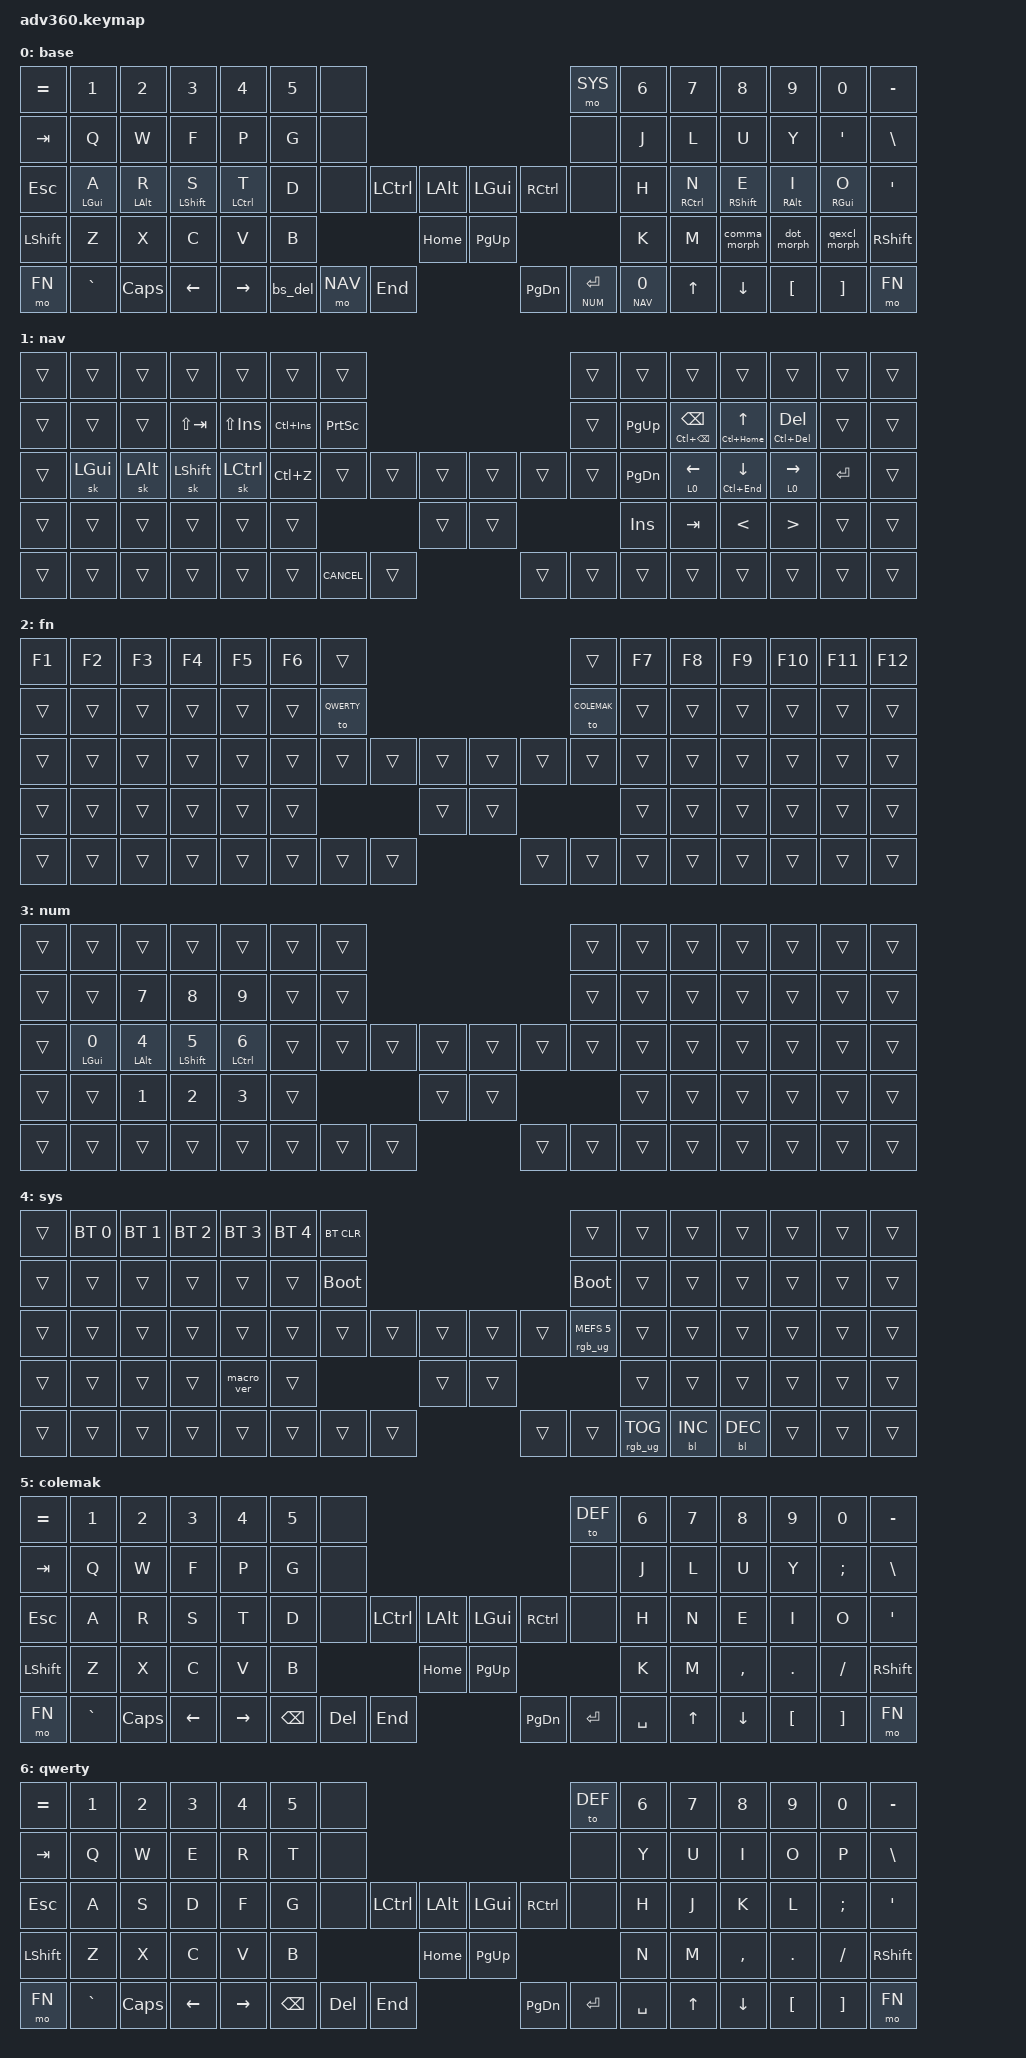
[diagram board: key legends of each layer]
#include <behaviors.dtsi>
#include <dt-bindings/zmk/keys.h>
#include <dt-bindings/zmk/bt.h>
#include <dt-bindings/zmk/rgb.h>
#include <dt-bindings/zmk/backlight.h>

#include "helper.h"

#define DEF 0
#define NAV 1
#define FN 2
#define NUM 3
#define SYS 4
#define COLEMAK 5
#define QWERTY 6

#include "keypos_adv360.h"
#include "combos.dtsi"

#define ___ &trans

#define QUICK_TAP_MS 175

/ {
    behaviors {
      #include "version.dtsi"
      #ifndef VERSION_MACRO
      macro_ver: macro_ver {
        compatible = "zmk,behavior-macro";
        label = "macro_version";
        #binding-cells = <0>;
        bindings = <&kp RET>;
      };
      #endif
  };
};

&sk {  // sticky-key config
    release-after-ms = <1800>;  // release after 1.8s
    quick-release;             // no double capitalization when rolling keys
};

&sl {  // sticky-layer config
    ignore-modifiers;          // allow chording sticky mods & layers
};

&lt {  // layer-tap config
    flavor = "balanced";
    tapping-term-ms = <200>;
    quick-tap-ms = <QUICK_TAP_MS>;
};

/* Homerow mods */

#define KEYS_L LN0 LN1 LN2 LN3 LN4 LN5 LT0 LT1 LT2 LT3 LT4 LT5 LM0 LM1 LM2 LM3 LM4 LM5 LB0 LB1 LB2 LB3 LB4 LB5
#define KEYS_R RN0 RN1 RN2 RN3 RN4 RN5 RT0 RT1 RT2 RT3 RT4 RT5 RM0 RM1 RM2 RM3 RM4 RM5 RB0 RB1 RB2 RB3 RB4 RB5
#define THUMBS LH0 LH1 LC0 LL0 LL1 LL2 RH0 RH1 RC0 RL0 RL1 RL2

#define MAKE_HRM(NAME, HOLD, TAP, TRIGGER_POS) \
    ZMK_HOLD_TAP(NAME, \
        flavor = "balanced"; \
        tapping-term-ms = <280>; \
        quick-tap-ms = <QUICK_TAP_MS>; \
        require-prior-idle-ms = <150>; \
        bindings = <HOLD>, <TAP>; \
        hold-trigger-key-positions = <TRIGGER_POS>; \
        hold-trigger-on-release; \
    )
MAKE_HRM(hml, &kp, &kp, KEYS_R THUMBS)  // left-hand HRMs
MAKE_HRM(hmr, &kp, &kp, KEYS_L THUMBS)  // right-hand HRMs

/* Nav cluster */

// long-tap action on hold, short-tap action on all interrupts
#define MT_CORE \
    flavor = "tap-preferred"; \
    tapping-term-ms = <220>; \
    quick-tap-ms = <220>; \
    hold-trigger-key-positions = <0>;

&mt { MT_CORE };
ZMK_HOLD_TAP(mt_home, bindings = <&masked_home>, <&kp>; MT_CORE)
ZMK_HOLD_TAP(mt_end, bindings = <&masked_end>, <&kp>; MT_CORE)

#define NAV_LEFT  &mt_home 0   LEFT    // tap: left  | long-tap: beginning of line
#define NAV_RIGHT &mt_end 0    RIGHT   // tap: right | long-tap: end       of line
#define NAV_UP    &mt LC(HOME) UP      // tap: up    | long-tap: beginning of document
#define NAV_DOWN  &mt LC(END)  DOWN    // tap: down  | long-tap: end       of document
#define NAV_BSPC  &mt LC(BSPC) BSPC    // tap: bspc  | long-tap: delete word backward
#define NAV_DEL   &mt LC(DEL)  DEL     // tap: del   | long-tap: delete word forward

// mask CTRL when holding left/right to avoid accidental jumps to beginning/end of document
#define MASK_MODS(NAME, MODS, BINDING) \
    ZMK_MOD_MORPH(NAME, \
        bindings = <BINDING>, <BINDING>; \
        mods = <MODS>; \
    )
MASK_MODS(masked_home, (MOD_LCTL), &kp HOME)
MASK_MODS(masked_end,  (MOD_LCTL), &kp END)

/* Custom behaviors */
// reuse basic mod-morph scheme
#define SIMPLE_MORPH(NAME, MOD, BINDING1, BINDING2) \
    ZMK_MOD_MORPH(NAME, \
        mods = <(MOD_L ## MOD|MOD_R ## MOD)>; \
        bindings = <BINDING1>, <BINDING2>; \
    )

// tap: comma | shift + tap: semicolon | ctrl + shift + tap: <
SIMPLE_MORPH(comma_morph, SFT, &kp COMMA, &comma_inner_morph)
SIMPLE_MORPH(comma_inner_morph, CTL, &kp SEMICOLON, &kp LESS_THAN)

// tap: dot | shift + tap: colon | ctrl + shift + tap: >
SIMPLE_MORPH(dot_morph, SFT, &kp DOT, &dot_inner_morph)
SIMPLE_MORPH(dot_inner_morph, CTL, &kp COLON, &kp GREATER_THAN)

// tap: left/right parenthesis | shft + tap: less-than/greater-than
SIMPLE_MORPH(lpar_lt, SFT, &kp LPAR, &kp LT)
SIMPLE_MORPH(rpar_gt, SFT, &kp RPAR, &kp GT)

// tap: qmark | shift + tap: !
SIMPLE_MORPH(qexcl_morph, SFT, &kp QMARK, &kp EXCL)

// tap: space | shift + tap: dot -> space -> sticky shift | hold: activate layer
ZMK_HOLD_TAP(lt_spc,
    flavor = "balanced";
    tapping-term-ms = <200>;
    quick-tap-ms = <QUICK_TAP_MS>;
    bindings = <&mo>, <&spc_morph>;
)
SIMPLE_MORPH(spc_morph, SFT, &kp SPACE, &dot_spc)
ZMK_MACRO_U(dot_spc,
    wait-ms = <0>;
    tap-ms = <5>;
    bindings = <&kp DOT &kp SPACE &sk LSHFT>;
)

// tap: backspace | lshft + tap: delete | rshft + tap: shift-delete
ZMK_MOD_MORPH(bs_del,
    bindings = <&kp BSPC>, <&kp DEL>;
    mods = <(MOD_LSFT|MOD_RSFT)>;
    keep-mods = <MOD_RSFT>;
)

// tap: copy | double-tap: cut
ZMK_TAP_DANCE(copy_cut,
    tapping-term-ms = <200>;
    bindings = <&kp LC(INS)>, <&kp LC(X)>;
)

// misc aliases
#define CANCEL      &kp K_CANCEL             // cancel caps-word, num-word and smart-mouse
#define DSK_PREV    &hmr LCTRL LG(LC(LEFT))   // previous desktop
#define DSK_NEXT    &hmr LALT LG(LC(RIGHT)) // next     desktop
#define PIN_WIN     &kp LG(LC(LS(Q)))        // pin window across desktops
#define PIN_APP     &kp LG(LC(LS(A)))        // pin application across desktops
#define DSK_MGR     &kp LA(GRAVE)            // desktop manager
#define VOL_DOWN    &hmr RSHFT C_VOL_DN

/* Keymap */

// Left for debuging keymaps, just paste bingings
// / {
//   keymap {
//     compatible = "zmk,keymap";
// 
//     default_layer {
//       bindings = <
//       >;
//     };
//   };
// };

ZMK_LAYER(base,
// ╭───────────┬───────────┬───────────┬───────────┬───────────┬───────────┬───────────╮                                                     ╭───────────┬───────────┬───────────┬───────────┬───────────┬───────────┬───────────╮
    &kp EQUAL     &kp N1      &kp N2      &kp N3       &kp N4      &kp N5      &none                                                            &mo SYS    &kp N6      &kp N7      &kp N8      &kp N9      &kp N0      &kp MINUS
// ├───────────┼───────────┼───────────┼───────────┼───────────┼───────────┼───────────┤                                                     ├───────────┼───────────┼───────────┼───────────┼───────────┼───────────┼───────────┤
     &kp TAB      &kp Q       &kp W       &kp F        &kp P       &kp G       &none                                                             &none     &kp J       &kp L       &kp U       &kp Y       &kp SQT     &kp BSLH
// ├───────────┼───────────┼───────────┼───────────┼───────────┼───────────┼───────────┤ ╭───────────────────────╮ ╭───────────────────────╮ ├───────────┼───────────┼───────────┼───────────┼───────────┼───────────┼───────────┤
      &kp ESC  &hml LGUI A &hml LALT R &hml LSHFT S &hml LCTRL T   &kp D       &none         &kp LCTRL &kp LALT      &kp LGUI      &kp RCTRL     &none     &kp H    &hmr RCTRL N &hmr RSHFT E &hmr RALT I &hmr RGUI O  &kp SQT
// ├───────────┼───────────┼───────────┼───────────┼───────────┼───────────┼───────────╯ ├───────────┼───────────┤ ├───────────┼───────────┤ ╰───────────┼───────────┼───────────┼───────────┼───────────┼───────────┼───────────┤
     &kp LSHFT    &kp Z       &kp X       &kp C       &kp V       &kp B                                &kp HOME      &kp PG_UP                             &kp K       &kp M     &comma_morph &dot_morph &qexcl_morph  &kp RSHFT
// ├───────────┼───────────┼───────────┼───────────┼───────────┼───────────╯ ╭───────────┤           ├───────────┤ ├───────────┤           ├───────────╮ ╰───────────┼───────────┼───────────┼───────────┼───────────┼───────────┤
     &mo FN      &kp GRAVE   &kp CAPS     &kp LEFT   &kp RIGHT                  &bs_del     &mo NAV     &kp END      &kp PG_DN  &lt NUM RET &lt_spc NAV 0                &kp UP     &kp DOWN    &kp LBKT    &kp RBKT    &mo FN
// ╰───────────┴───────────┴───────────┴───────────┴───────────╯             ╰───────────┴───────────┴───────────╯ ╰───────────┴───────────┴───────────╯             ╰───────────┴───────────┴───────────┴───────────┴───────────╯
)

ZMK_LAYER(nav,
// ╭───────────┬───────────┬───────────┬───────────┬───────────┬───────────┬───────────╮                                                     ╭───────────┬───────────┬───────────┬───────────┬───────────┬───────────┬───────────╮
        ___         ___         ___         ___         ___         ___         ___                                                               ___         ___         ___         ___         ___         ___         ___
// ├───────────┼───────────┼───────────┼───────────┼───────────┼───────────┼───────────┤                                                     ├───────────┼───────────┼───────────┼───────────┼───────────┼───────────┼───────────┤
        ___         ___         ___     &kp LS(TAB)     &kp LS(INS)     &kp LC(INS)     &kp PSCRN                                                               ___      &kp PG_UP    NAV_BSPC     NAV_UP     NAV_DEL       ___         ___
// ├───────────┼───────────┼───────────┼───────────┼───────────┼───────────┼───────────┤ ╭───────────────────────╮ ╭───────────────────────╮ ├───────────┼───────────┼───────────┼───────────┼───────────┼───────────┼───────────┤
        ___      &sk LGUI    &sk LALT    &sk LSHFT   &sk LCTRL      &kp LC(Z)         ___            ___        ___           ___         ___           ___      &kp PG_DN    NAV_LEFT    NAV_DOWN   NAV_RIGHT   &kp RET        ___
// ├───────────┼───────────┼───────────┼───────────┼───────────┼───────────┼───────────╯ ├───────────┼───────────┤ ├───────────┼───────────┤ ╰───────────┼───────────┼───────────┼───────────┼───────────┼───────────┼───────────┤
        ___         ___         ___         ___         ___         ___                                   ___           ___                                &kp INS      &kp TAB      &kp LT     &kp GT        ___         ___
// ├───────────┼───────────┼───────────┼───────────┼───────────┼───────────╯ ╭───────────┤           ├───────────┤ ├───────────┤           ├───────────╮ ╰───────────┼───────────┼───────────┼───────────┼───────────┼───────────┤
        ___         ___         ___         ___         ___                       ___        CANCEL       ___           ___         ___        ___                        ___         ___         ___         ___         ___
// ╰───────────┴───────────┴───────────┴───────────┴───────────╯             ╰───────────┴───────────┴───────────╯ ╰───────────┴───────────┴───────────╯             ╰───────────┴───────────┴───────────┴───────────┴───────────╯
)

ZMK_LAYER(fn,
// ╭───────────┬───────────┬───────────┬───────────┬───────────┬───────────┬───────────╮                                                     ╭───────────┬───────────┬───────────┬───────────┬───────────┬───────────┬───────────╮
      &kp F1      &kp F2      &kp F3      &kp F4       &kp F5      &kp F6       ___                                                               ___        &kp F7     &kp F8      &kp F9      &kp F10     &kp F11     &kp F12
// ├───────────┼───────────┼───────────┼───────────┼───────────┼───────────┼───────────┤                                                     ├───────────┼───────────┼───────────┼───────────┼───────────┼───────────┼───────────┤
        ___         ___         ___         ___         ___         ___      &to QWERTY                                                       &to COLEMAK     ___         ___         ___         ___         ___         ___
// ├───────────┼───────────┼───────────┼───────────┼───────────┼───────────┼───────────┤ ╭───────────────────────╮ ╭───────────────────────╮ ├───────────┼───────────┼───────────┼───────────┼───────────┼───────────┼───────────┤
        ___         ___         ___         ___         ___         ___         ___            ___        ___           ___         ___           ___         ___         ___         ___         ___         ___         ___
// ├───────────┼───────────┼───────────┼───────────┼───────────┼───────────┼───────────╯ ├───────────┼───────────┤ ├───────────┼───────────┤ ╰───────────┼───────────┼───────────┼───────────┼───────────┼───────────┼───────────┤
        ___         ___         ___         ___         ___         ___                                   ___           ___                                   ___         ___         ___         ___         ___         ___
// ├───────────┼───────────┼───────────┼───────────┼───────────┼───────────╯ ╭───────────┤           ├───────────┤ ├───────────┤           ├───────────╮ ╰───────────┼───────────┼───────────┼───────────┼───────────┼───────────┤
        ___         ___         ___         ___         ___                       ___          ___        ___           ___         ___        ___                        ___         ___         ___         ___         ___
// ╰───────────┴───────────┴───────────┴───────────┴───────────╯             ╰───────────┴───────────┴───────────╯ ╰───────────┴───────────┴───────────╯             ╰───────────┴───────────┴───────────┴───────────┴───────────╯
)

ZMK_LAYER(num,
// ╭───────────┬───────────┬───────────┬───────────┬───────────┬───────────┬───────────╮                                                     ╭───────────┬───────────┬───────────┬───────────┬───────────┬───────────┬───────────╮
        ___         ___         ___         ___         ___         ___         ___                                                               ___         ___         ___         ___         ___         ___         ___
// ├───────────┼───────────┼───────────┼───────────┼───────────┼───────────┼───────────┤                                                     ├───────────┼───────────┼───────────┼───────────┼───────────┼───────────┼───────────┤
        ___         ___       &kp N7      &kp N8      &kp N9        ___         ___                                                               ___         ___         ___         ___         ___         ___         ___
// ├───────────┼───────────┼───────────┼───────────┼───────────┼───────────┼───────────┤ ╭───────────────────────╮ ╭───────────────────────╮ ├───────────┼───────────┼───────────┼───────────┼───────────┼───────────┼───────────┤
        ___   &hml LGUI N0 &hml LALT N4 &hml LSHFT N5 &hml LCTRL N6 ___         ___           ___         ___           ___         ___           ___         ___         ___         ___         ___         ___         ___
// ├───────────┼───────────┼───────────┼───────────┼───────────┼───────────┼───────────╯ ├───────────┼───────────┤ ├───────────┼───────────┤ ╰───────────┼───────────┼───────────┼───────────┼───────────┼───────────┼───────────┤
        ___         ___       &kp N1      &kp N2      &kp N3        ___                                   ___           ___                                   ___         ___         ___         ___         ___         ___
// ├───────────┼───────────┼───────────┼───────────┼───────────┼───────────╯ ╭───────────┤           ├───────────┤ ├───────────┤           ├───────────╮ ╰───────────┼───────────┼───────────┼───────────┼───────────┼───────────┤
        ___         ___         ___         ___         ___                       ___          ___        ___           ___         ___        ___                        ___         ___         ___         ___         ___
// ╰───────────┴───────────┴───────────┴───────────┴───────────╯             ╰───────────┴───────────┴───────────╯ ╰───────────┴───────────┴───────────╯             ╰───────────┴───────────┴───────────┴───────────┴───────────╯
)

ZMK_LAYER(sys,
// ╭───────────┬───────────┬───────────┬───────────┬───────────┬───────────┬───────────╮                                                     ╭───────────┬───────────┬───────────┬───────────┬───────────┬───────────┬───────────╮
        ___   &bt BT_SEL 0 &bt BT_SEL 1 &bt BT_SEL 2 &bt BT_SEL 3 &bt BT_SEL 4 &bt BT_CLR                                                             ___         ___         ___         ___         ___         ___         ___
// ├───────────┼───────────┼───────────┼───────────┼───────────┼───────────┼───────────┤                                                     ├───────────┼───────────┼───────────┼───────────┼───────────┼───────────┼───────────┤
        ___         ___         ___         ___         ___         ___     &bootloader                                                       &bootloader     ___         ___         ___         ___         ___         ___
// ├───────────┼───────────┼───────────┼───────────┼───────────┼───────────┼───────────┤ ╭───────────────────────╮ ╭───────────────────────╮ ├───────────┼───────────┼───────────┼───────────┼───────────┼───────────┼───────────┤
        ___         ___         ___         ___         ___         ___         ___            ___        ___           ___         ___ &rgb_ug RGB_MEFS_CMD 5 ___        ___         ___         ___         ___         ___
// ├───────────┼───────────┼───────────┼───────────┼───────────┼───────────┼───────────╯ ├───────────┼───────────┤ ├───────────┼───────────┤ ╰───────────┼───────────┼───────────┼───────────┼───────────┼───────────┼───────────┤
        ___         ___         ___         ___     &macro_ver      ___                                   ___           ___                                   ___         ___         ___         ___         ___         ___
// ├───────────┼───────────┼───────────┼───────────┼───────────┼───────────╯ ╭───────────┤           ├───────────┤ ├───────────┤           ├───────────╮ ╰───────────┼───────────┼───────────┼───────────┼───────────┼───────────┤
        ___         ___         ___         ___         ___                       ___          ___        ___           ___         ___   &rgb_ug RGB_TOG              &bl BL_INC  &bl BL_DEC     ___         ___         ___
// ╰───────────┴───────────┴───────────┴───────────┴───────────╯             ╰───────────┴───────────┴───────────╯ ╰───────────┴───────────┴───────────╯             ╰───────────┴───────────┴───────────┴───────────┴───────────╯
)

ZMK_LAYER(colemak,
// ╭───────────┬───────────┬───────────┬───────────┬───────────┬───────────┬───────────╮                                                     ╭───────────┬───────────┬───────────┬───────────┬───────────┬───────────┬───────────╮
    &kp EQUAL     &kp N1      &kp N2      &kp N3       &kp N4      &kp N5      &none                                                            &to DEF    &kp N6      &kp N7      &kp N8      &kp N9      &kp N0      &kp MINUS
// ├───────────┼───────────┼───────────┼───────────┼───────────┼───────────┼───────────┤                                                     ├───────────┼───────────┼───────────┼───────────┼───────────┼───────────┼───────────┤
     &kp TAB      &kp Q       &kp W       &kp F        &kp P       &kp G       &none                                                             &none     &kp J       &kp L       &kp U       &kp Y       &kp SEMI    &kp BSLH
// ├───────────┼───────────┼───────────┼───────────┼───────────┼───────────┼───────────┤ ╭───────────────────────╮ ╭───────────────────────╮ ├───────────┼───────────┼───────────┼───────────┼───────────┼───────────┼───────────┤
    &kp ESC       &kp A       &kp R       &kp S        &kp T       &kp D       &none       &kp LCTRL    &kp LALT      &kp LGUI   &kp RCTRL       &none     &kp H       &kp N       &kp E       &kp I       &kp O       &kp SQT
// ├───────────┼───────────┼───────────┼───────────┼───────────┼───────────┼───────────╯ ├───────────┼───────────┤ ├───────────┼───────────┤ ╰───────────┼───────────┼───────────┼───────────┼───────────┼───────────┼───────────┤
    &kp LSHFT     &kp Z       &kp X       &kp C        &kp V       &kp B                                &kp HOME     &kp PG_UP                             &kp K       &kp M       &kp COMMA   &kp DOT     &kp FSLH    &kp RSHFT
// ├───────────┼───────────┼───────────┼───────────┼───────────┼───────────╯ ╭───────────┤           ├───────────┤ ├───────────┤           ├───────────╮ ╰───────────┼───────────┼───────────┼───────────┼───────────┼───────────┤
     &mo FN      &kp GRAVE   &kp CAPS     &kp LEFT   &kp RIGHT                  &kp BSPC    &kp DEL     &kp END      &kp PG_DN   &kp ENTER   &kp SPACE                 &kp UP     &kp DOWN    &kp LBKT     &kp RBKT    &mo FN
// ╰───────────┴───────────┴───────────┴───────────┴───────────╯             ╰───────────┴───────────┴───────────╯ ╰───────────┴───────────┴───────────╯             ╰───────────┴───────────┴───────────┴───────────┴───────────╯
)

ZMK_LAYER(qwerty,
// ╭───────────┬───────────┬───────────┬───────────┬───────────┬───────────┬───────────╮                                                     ╭───────────┬───────────┬───────────┬───────────┬───────────┬───────────┬───────────╮
    &kp EQUAL     &kp N1      &kp N2      &kp N3       &kp N4      &kp N5      &none                                                            &to DEF    &kp N6      &kp N7      &kp N8      &kp N9      &kp N0      &kp MINUS
// ├───────────┼───────────┼───────────┼───────────┼───────────┼───────────┼───────────┤                                                     ├───────────┼───────────┼───────────┼───────────┼───────────┼───────────┼───────────┤
     &kp TAB      &kp Q       &kp W       &kp E        &kp R       &kp T       &none                                                             &none     &kp Y       &kp U       &kp I       &kp O       &kp P       &kp BSLH
// ├───────────┼───────────┼───────────┼───────────┼───────────┼───────────┼───────────┤ ╭───────────────────────╮ ╭───────────────────────╮ ├───────────┼───────────┼───────────┼───────────┼───────────┼───────────┼───────────┤
    &kp ESC       &kp A       &kp S       &kp D        &kp F       &kp G       &none       &kp LCTRL    &kp LALT      &kp LGUI   &kp RCTRL       &none     &kp H       &kp J       &kp K       &kp L       &kp SEMI    &kp SQT
// ├───────────┼───────────┼───────────┼───────────┼───────────┼───────────┼───────────╯ ├───────────┼───────────┤ ├───────────┼───────────┤ ╰───────────┼───────────┼───────────┼───────────┼───────────┼───────────┼───────────┤
    &kp LSHFT     &kp Z       &kp X       &kp C        &kp V       &kp B                                &kp HOME     &kp PG_UP                             &kp N       &kp M       &kp COMMA   &kp DOT     &kp FSLH    &kp RSHFT
// ├───────────┼───────────┼───────────┼───────────┼───────────┼───────────╯ ╭───────────┤           ├───────────┤ ├───────────┤           ├───────────╮ ╰───────────┼───────────┼───────────┼───────────┼───────────┼───────────┤
     &mo FN      &kp GRAVE   &kp CAPS     &kp LEFT   &kp RIGHT                  &kp BSPC    &kp DEL     &kp END      &kp PG_DN   &kp ENTER   &kp SPACE                 &kp UP     &kp DOWN    &kp LBKT     &kp RBKT    &mo FN
// ╰───────────┴───────────┴───────────┴───────────┴───────────╯             ╰───────────┴───────────┴───────────╯ ╰───────────┴───────────┴───────────╯             ╰───────────┴───────────┴───────────┴───────────┴───────────╯
)
